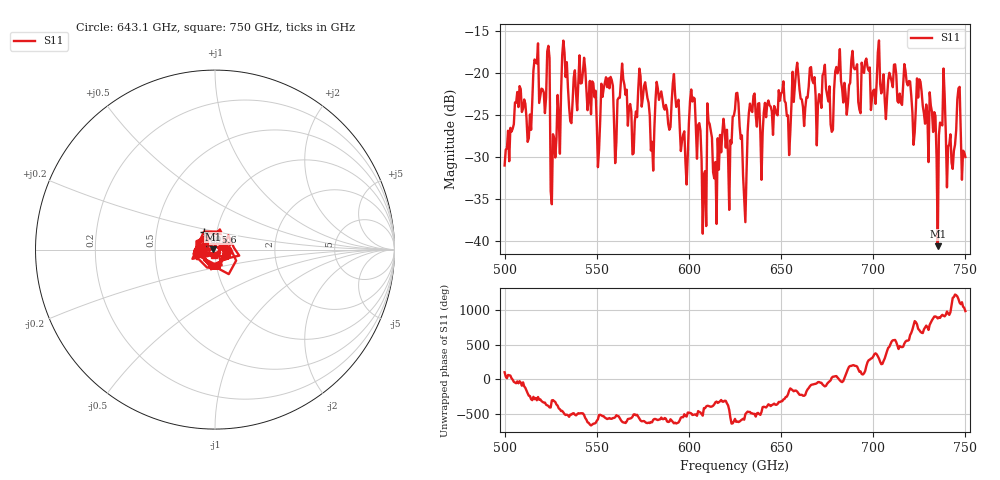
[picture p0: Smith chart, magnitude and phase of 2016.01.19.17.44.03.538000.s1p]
!Created with skrf (http://scikit-rf.org).
# GHz S RI R 50.0
!freq ReS11 ImS11
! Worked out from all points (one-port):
!   401 points, 500 GHz to 750 GHz, reference 50 ohm
!   lowest |S11| = -40.6 dB at 735 GHz (marker M1), VSWR 1.02, Z = 49.1 + j0.334 ohm
!   |S11| at or under -10 dB: start of sweep to end of sweep
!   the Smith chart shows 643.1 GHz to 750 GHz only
!   S11 on the Smith chart (normalised r, x): 643.1 GHz: 1.15, +0.00; 695.6 GHz: 0.87, +0.18; 750 GHz: 0.99, -0.06
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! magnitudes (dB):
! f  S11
! 500 GHz  -31.0
! 507.5 GHz  -24.0
! 513.8 GHz  -24.9
! 516.9 GHz  -18.7
! 523.1 GHz  -17.4
! 526.2 GHz  -27.3
! 531.2 GHz  -17.8
! 550.6 GHz  -31.2
! 562.5 GHz  -22.9
! 580 GHz  -28.2
! 583.8 GHz  -23.2
! 593.8 GHz  -23.6
! 598.1 GHz  -30.6
! 601.9 GHz  -23.4
! 608.1 GHz  -32.1
! 611.2 GHz  -26.1
! 615 GHz  -38.0
! 625 GHz  -24.3
! 630 GHz  -35.0
! 634.4 GHz  -24.6
! 643.1 GHz  -23.3
! 656.2 GHz  -19.8
! 687.5 GHz  -21.2
! 695.6 GHz  -18.6
! 718.8 GHz  -21.5
! 735 GHz  -40.6
! 737.5 GHz  -26.2
! 750 GHz  -30.0
